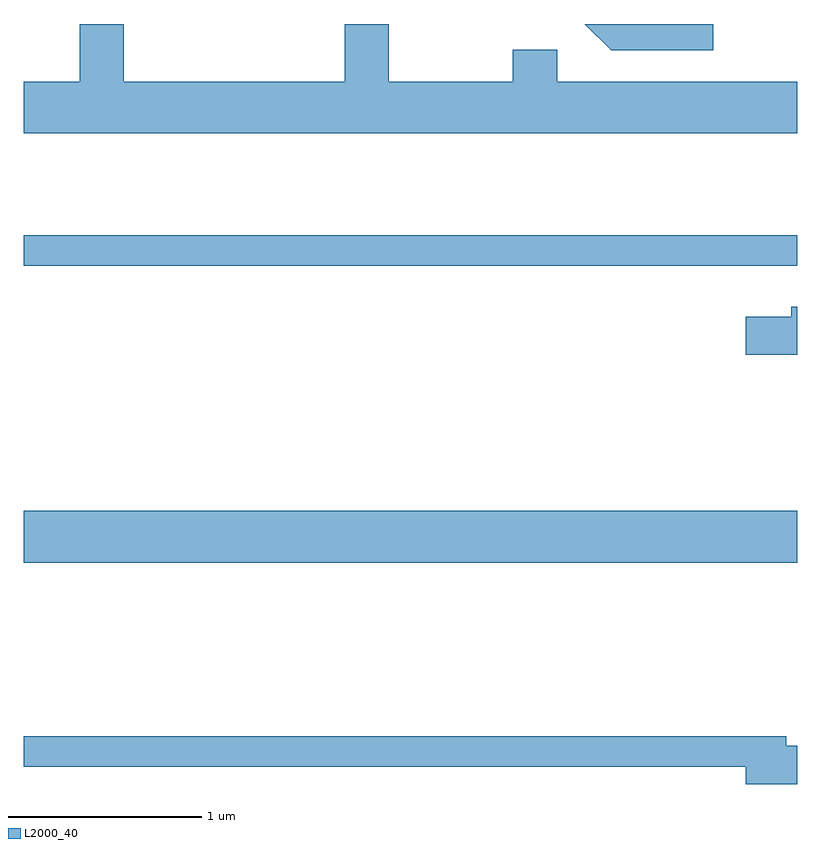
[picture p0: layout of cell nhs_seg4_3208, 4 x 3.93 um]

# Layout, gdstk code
import gdstk
lib = gdstk.Library(unit=1e-6, precision=1e-09)
def R(c, l, rs):  # rectangles x0, y0, x1, y1
    for r in rs: c.add(gdstk.rectangle(r[:2], r[2:], *l))
def P(c, l, *ps):  # polygons
    for p in ps: c.add(gdstk.Polygon(p, *l))
L2000_40 = (2000, 40)

nhs_seg4_3208 = lib.new_cell('nhs_seg4_3208')
R(nhs_seg4_3208, L2000_40, [(279.611,1279.196,283.611,1279.464), (279.611,1280.731,283.611,1280.889)])
P(nhs_seg4_3208, L2000_40, [(283.611,1281.684),(282.369,1281.684),(282.369,1281.849),(282.141,1281.849),(282.141,1281.684),(281.499,1281.684),(281.499,1281.982),(281.271,1281.982),(281.271,1281.684),(280.129,1281.684),(280.129,1281.982),(279.901,1281.982),(279.901,1281.684),(279.611,1281.684),(279.611,1281.416),(283.611,1281.416)],
  [(283.178,1281.982),(282.513,1281.982),(282.649,1281.846),(283.178,1281.846)],
  [(283.611,1280.519),(283.581,1280.519),(283.581,1280.469),(283.346,1280.469),(283.346,1280.271),(283.611,1280.271)],
  [(283.611,1278.249),(283.554,1278.249),(283.554,1278.299),(279.611,1278.299),(279.611,1278.141),(283.346,1278.141),(283.346,1278.051),(283.611,1278.051)])

lib.write_gds('nhs_seg4_3208.gds')
